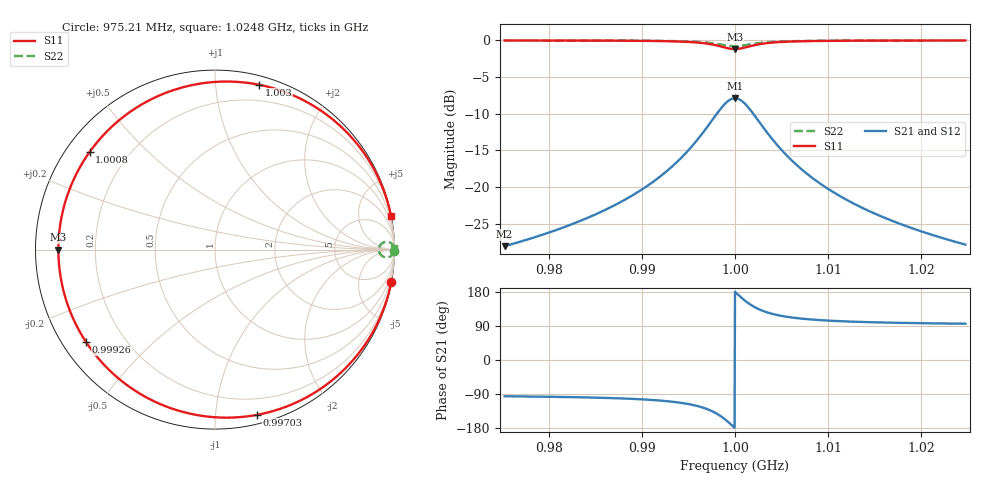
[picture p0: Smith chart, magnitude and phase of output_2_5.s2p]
! File generated for n1 = 2, n2 = 5
! b1 = 46.415888
! b2 = 2.154435
! Q0 = 10000.000000
! f0 = 1000000000.000000
! n = 1001
! rel_span = 10.000000
# Hz S RI R 50
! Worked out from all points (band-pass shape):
!   1001 points, 975.21 MHz to 1.0248 GHz, reference 50 ohm
!   highest |S21| = -7.88 dB at 1 GHz (marker M1); lowest = -28.0 dB at 975.21 MHz (marker M2)
!   |S21| within 3 dB of the highest: 997.5304 MHz to 1.002476 GHz (4.945 MHz wide, 0.495 % of centre)
!   lowest |S11| = -1.2 dB at 1 GHz (marker M3), VSWR 14.71, Z = 3.4 + j0 ohm
!   |S11| at or under -10 dB: nowhere
!   |S22| runs from -0.8 to 0.0 dB; largest |S21 - S12| = 0
!   S11 on the Smith chart (normalised r, x): 975.21 MHz: 0, -11; 997.03 MHz: 0.07, -1.28; 999.26 MHz: 0.07, -0.32; 1.0008 GHz: 0.07, +0.34; 1.003 GHz: 0.07, +1.30; 1.0248 GHz: 0, +11
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9.752148e8  0.9819 -0.1831  -0.0039 -0.0395  -0.0039 -0.0395  0.9992 -0.0085
9.834931e8  0.9594 -0.2728  -0.00875 -0.0588  -0.00875 -0.0588  0.9981 -0.0127
9.882023e8  0.9217 -0.3748  -0.0169 -0.0807  -0.0169 -0.0807  0.9964 -0.0174
9.917713e8  0.8454 -0.5154  -0.0333 -0.111  -0.0333 -0.111  0.9928 -0.0239
9.949438e8  0.6387 -0.739  -0.0778 -0.1592  -0.0778 -0.1592  0.9832 -0.0343
9.960839e8  0.4659 -0.8456  -0.1151 -0.1822  -0.1151 -0.1822  0.9752 -0.0392
9.970258e8  0.2338 -0.9208  -0.1651 -0.1984  -0.1651 -0.1984  0.9644 -0.0427
9.98265e8  -0.2561 -0.8801  -0.2706 -0.1896  -0.2706 -0.1896  0.9417 -0.0408
9.987607e8  -0.4978 -0.7494  -0.3227 -0.1614  -0.3227 -0.1614  0.9305 -0.0348
9.992564e8  -0.718 -0.5156  -0.3701 -0.1111  -0.3701 -0.1111  0.9203 -0.0239
1e9  -0.8727 0  -0.4035 0  -0.4035 0  0.9131 0
1.000397e9  -0.826 0.2921  -0.3934 0.0629  -0.3934 0.0629  0.9152 0.0136
1.000793e9  -0.6989 0.5434  -0.366 0.1171  -0.366 0.1171  0.9211 0.0252
1.001239e9  -0.4986 0.7488  -0.3229 0.1613  -0.3229 0.1613  0.9304 0.0348
1.001735e9  -0.2576 0.8795  -0.2709 0.1895  -0.2709 0.1895  0.9416 0.0408
1.00228e9  -0.0153 0.933  -0.2187 0.201  -0.2187 0.201  0.9529 0.0433
1.003024e9  0.2461 0.9184  -0.1624 0.1979  -0.1624 0.1979  0.965 0.0426
1.003966e9  0.4725 0.8424  -0.1137 0.1815  -0.1137 0.1815  0.9755 0.0391
1.005106e9  0.6414 0.7369  -0.0773 0.1588  -0.0773 0.1588  0.9834 0.0342
1.008278e9  0.8448 0.5163  -0.0334 0.1112  -0.0334 0.1112  0.9928 0.024
1.016556e9  0.9583 0.2764  -0.00899 0.0595  -0.00899 0.0595  0.9981 0.0128
1.024785e9  0.981 0.1876  -0.00409 0.0404  -0.00409 0.0404  0.9991 0.00871
